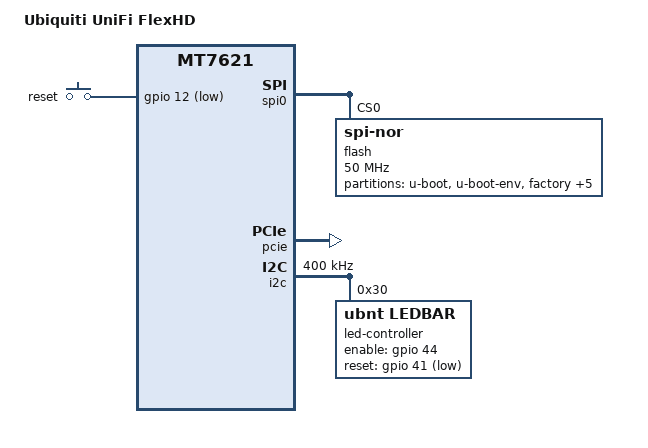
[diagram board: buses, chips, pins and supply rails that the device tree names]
// SPDX-License-Identifier: GPL-2.0-or-later OR MIT

#include "mt7621.dtsi"

#include <dt-bindings/gpio/gpio.h>
#include <dt-bindings/input/input.h>

/ {
	compatible = "ubnt,unifi-flexhd", "mediatek,mt7621-soc";
	model = "Ubiquiti UniFi FlexHD";

	aliases {
		label-mac-device = &gmac0;
		led-boot = &led_blue;
		led-failsafe = &led_blue;
		led-running = &led_blue;
		led-upgrade = &led_blue;
	};

	chosen {
		bootargs = "console=ttyS0,115200";
	};

	keys {
		compatible = "gpio-keys";

		reset {
			label = "reset";
			gpios = <&gpio 12 GPIO_ACTIVE_LOW>;
			linux,code = <KEY_RESTART>;
		};
	};
};

&spi0 {
	status = "okay";

	flash@0 {
		compatible = "jedec,spi-nor";
		reg = <0>;
		spi-max-frequency = <50000000>;

		partitions {
			compatible = "fixed-partitions";
			#address-cells = <1>;
			#size-cells = <1>;

			partition@0 {
				label = "u-boot";
				reg = <0x0 0x60000>;
				read-only;
			};

			partition@60000 {
				label = "u-boot-env";
				reg = <0x60000 0x10000>;
				read-only;
			};

			factory: partition@70000 {
				label = "factory";
				reg = <0x70000 0x10000>;
				read-only;
			};

			eeprom: partition@80000 {
				label = "eeprom";
				reg = <0x80000 0x10000>;
				read-only;
			};

			partition@90000 {
				label = "bs";
				reg = <0x90000 0x10000>;
			};

			partition@a0000 {
				label = "cfg";
				reg = <0xa0000 0x100000>;
				read-only;
			};

			partition@1a0000 {
				compatible = "denx,fit";
				label = "firmware";
				reg = <0x1a0000 0xf30000>;
			};

			partition@10d0000 {
				label = "kernel1";
				reg = <0x10d0000 0xf30000>;
				read-only;
			};
		};
	};
};

&eeprom {
	compatible = "nvmem-cells";
	#address-cells = <1>;
	#size-cells = <1>;

	macaddr_eeprom_0: macaddr@0 {
		reg = <0x0 0x6>;
	};
};

&gmac0 {
	nvmem-cells = <&macaddr_eeprom_0>;
	nvmem-cell-names = "mac-address";
};

&switch0 {
	ports {
		port@0 {
			status = "okay";
			label = "lan";
		};
	};
};

&pcie {
	status = "okay";
};

&pcie0 {
	wifi@0,0 {
		reg = <0x0 0 0 0 0>;
		mediatek,mtd-eeprom = <&factory 0x0>;
		// On newer devices there is a MediaTek MAC in the above
		// device EEPROM, so override it with a calculated one.
		nvmem-cells = <&macaddr_eeprom_0>;
		nvmem-cell-names = "mac-address";
		mac-address-increment = <1>;
	};
};

&pcie1 {
	wifi@0,0 {
		reg = <0x0 0 0 0 0>;
		mediatek,mtd-eeprom = <&factory 0x8000>;
		// On newer devices there is a MediaTek MAC in the above
		// device EEPROM, so override it with a calculated one.
		nvmem-cells = <&macaddr_eeprom_0>;
		nvmem-cell-names = "mac-address";
		mac-address-increment = <2>;
	};
};

&i2c {
	status = "okay";
	clock-frequency = <400000>;

	led-controller@30 {
		compatible = "ubnt,ledbar";
		reg = <0x30>;

		enable-gpio = <&gpio 44 GPIO_ACTIVE_HIGH>;
		reset-gpio = <&gpio 41 GPIO_ACTIVE_LOW>;
		led-count = <8>;

		red {
			label = "red";
		};

		green {
			label = "green";
		};

		led_blue: blue {
			label = "blue";
		};
	};
};

&state_default {
	gpio {
		groups = "uart2";
		function = "gpio";
	};
};
